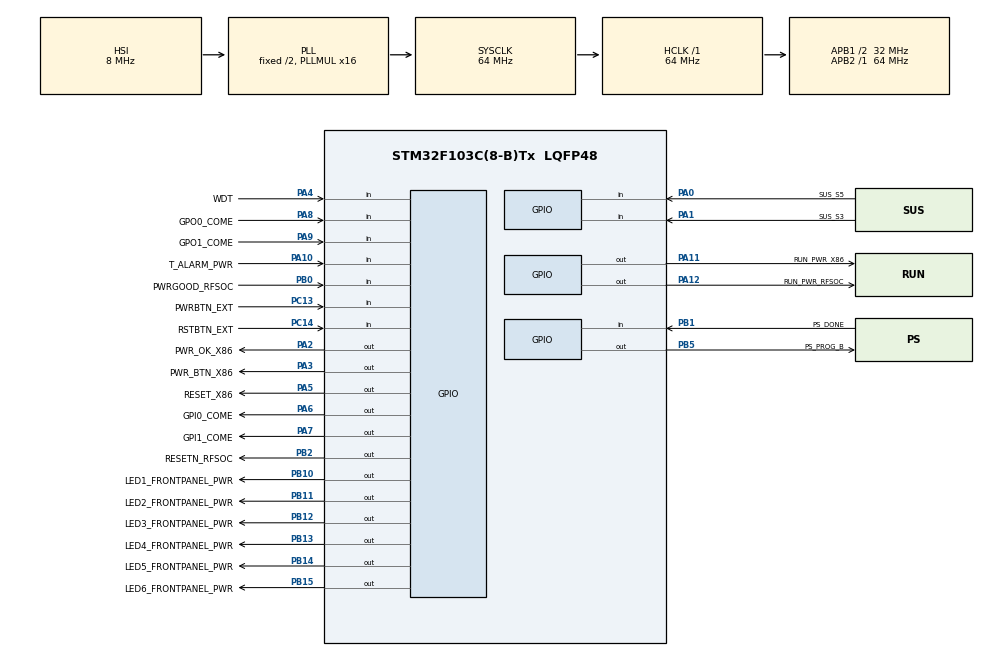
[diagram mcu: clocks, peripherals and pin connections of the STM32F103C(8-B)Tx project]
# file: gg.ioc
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FREERTOS.Tasks01=PowerOnTask,0,128,PowerOnTask_init,Default,NULL,Dynamic,NULL,NULL;KeyMonitorTask,0,128,KeyMonitorTask_init,Default,NULL,Dynamic,NULL,NULL;HardOffTask,0,128,HardOffTask_init,Default,NULL,Dynamic,NULL,NULL;SoftOffTask,0,128,SoftOffTask_init,Default,NULL,Dynamic,NULL,NULL
Mcu.Family=STM32F1
Mcu.Name=STM32F103C(8-B)Tx
Mcu.Package=LQFP48
NVIC.PriorityGroup=NVIC_PRIORITYGROUP_4
NVIC.TIM1_UP_IRQn=true\:15\:0\:false\:false\:true\:false\:false\:true\:true
NVIC.TimeBase=TIM1_UP_IRQn
NVIC.TimeBaseIP=TIM1
PA0-WKUP.GPIO_Label=SUS_S5
PA0-WKUP.Signal=GPIO_Input
PA1.GPIO_Label=SUS_S3
PA1.Signal=GPIO_Input
PA10.GPIO_Label=T_ALARM_PWR
PA10.Signal=GPIO_Input
PA11.GPIO_Label=RUN_PWR_X86
PA11.Signal=GPIO_Output
PA12.GPIO_Label=RUN_PWR_RFSOC
PA12.Signal=GPIO_Output
PA13.Mode=Serial_Wire
PA13.Signal=SYS_JTMS-SWDIO
PA14.Mode=Serial_Wire
PA14.Signal=SYS_JTCK-SWCLK
PA2.GPIO_Label=PWR_OK_X86
PA2.Signal=GPIO_Output
PA3.GPIO_Label=PWR_BTN_X86
PA3.Signal=GPIO_Output
PA4.GPIO_Label=WDT
PA4.Signal=GPIO_Input
PA5.GPIO_Label=RESET_X86
PA5.Signal=GPIO_Output
PA6.GPIO_Label=GPI0_COME
PA6.Signal=GPIO_Output
PA7.GPIO_Label=GPI1_COME
PA7.Signal=GPIO_Output
PA8.GPIO_Label=GPO0_COME
PA8.Signal=GPIO_Input
PA9.GPIO_Label=GPO1_COME
PA9.Signal=GPIO_Input
PB0.GPIO_Label=PWRGOOD_RFSOC
PB0.Signal=GPIO_Input
PB1.GPIO_Label=PS_DONE
PB1.Signal=GPIO_Input
PB10.GPIO_Label=LED1_FRONTPANEL_PWR
PB10.Signal=GPIO_Output
PB11.GPIO_Label=LED2_FRONTPANEL_PWR
PB11.Signal=GPIO_Output
PB12.GPIO_Label=LED3_FRONTPANEL_PWR
PB12.Signal=GPIO_Output
PB13.GPIO_Label=LED4_FRONTPANEL_PWR
PB13.Signal=GPIO_Output
PB14.GPIO_Label=LED5_FRONTPANEL_PWR
PB14.Signal=GPIO_Output
PB15.GPIO_Label=LED6_FRONTPANEL_PWR
PB15.Signal=GPIO_Output
PB2.GPIO_Label=RESETN_RFSOC
PB2.Signal=GPIO_Output
PB5.GPIO_Label=PS_PROG_B
PB5.Signal=GPIO_Output
PC13-TAMPER-RTC.GPIO_Label=PWRBTN_EXT
PC13-TAMPER-RTC.Signal=GPIO_Input
PC14-OSC32_IN.GPIO_Label=RSTBTN_EXT
PC14-OSC32_IN.Signal=GPIO_Input
ProjectManager.HeapSize=0x200
ProjectManager.StackSize=0x400
ProjectManager.TargetToolchain=STM32CubeIDE
RCC.AHBFreq_Value=64000000
RCC.APB1CLKDivider=RCC_HCLK_DIV2
RCC.APB1Freq_Value=32000000
RCC.APB1TimFreq_Value=64000000
RCC.APB2Freq_Value=64000000
RCC.APB2TimFreq_Value=64000000
RCC.HCLKFreq_Value=64000000
RCC.PLLMUL=RCC_PLL_MUL16
RCC.SYSCLKFreq_VALUE=64000000
RCC.SYSCLKSource=RCC_SYSCLKSOURCE_PLLCLK
RCC.USBFreq_Value=64000000
VP_FREERTOS_VS_CMSIS_V1.Mode=CMSIS_V1
VP_SYS_VS_tim1.Mode=TIM1
board=custom

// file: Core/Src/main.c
/* USER CODE BEGIN Header */
/**
  ******************************************************************************
  * @file           : main.c
  * @brief          : Main program body
  ******************************************************************************
  * @attention
  *
  * Copyright (c) 2026 STMicroelectronics.
  * All rights reserved.
  *
  * This software is licensed under terms that can be found in the LICENSE file
  * in the root directory of this software component.
  * If no LICENSE file comes with this software, it is provided AS-IS.
  *
  ******************************************************************************
  */
/* USER CODE END Header */
#include "main.h"
#include "cmsis_os.h"

osThreadId PowerOnTaskHandle;
osThreadId KeyMonitorTaskHandle;
osThreadId HardOffTaskHandle;
osThreadId SoftOffTaskHandle;
/* USER CODE BEGIN PV */
typedef enum
{
    KEY_IDLE = 0,
    KEY_PRESSED
} key_state_t;

typedef struct
{
    key_state_t state;
    uint32_t    press_time;
} key_ctrl_t;

typedef struct
{
    GPIO_PinState last_pin;
    uint32_t      idle_time;
    uint8_t       stable_cnt;
} wdt_ctrl_t;

/* System power state, shared between tasks. Every transition is written
   by the task that owns it. */
typedef enum
{
    PWR_ST_OFF = 0,     /* everything off, waiting for a power-on request */
    PWR_ST_UP,          /* power-up sequence running */
    PWR_ST_ON,          /* up and running */
    PWR_ST_DOWN,        /* power-down sequence running */
    PWR_ST_FAULT        /* power-up sequence failed */
} pwr_state_t;

#define KEY_SCAN_TIME_MS      20

#define PWR_SHORT_MS          100
#define PWR_LONG_MS           4000

#define RST_LONG_MS           1000

#define WDT_TIMEOUT_MS        5000
#define WDT_STABLE_CNT        2

/* Power-down sequencing */
#define PWRBTN_GRACEFUL_MS       300  /* short PWRBTN# pulse: ask the OS to stop */
#define GRACEFUL_STOP_TIMEOUT_MS 20000 /* max wait for the OS to shut down by itself */
#define HARD_OFF_BTN_MS       4000    /* PWRBTN# hold that forces the x86 off */
#define HOST_STOP_TIMEOUT_MS  6000    /* max wait for SUS_S3# after the forced hold */
#define RFSOC_QUIESCE_MS      100     /* let PROG_B settle before cutting power */

#define WAIT_PIN_POLL_MS       10     /* poll period for every pin handshake */
#define FAULT_BLINK_MS        250     /* half period of the FAULT indicator */

/* Handshake timeouts. These are STARTING POINTS, not measured values: each
   one has to be confirmed against the real board before they can be
   trusted. See the notes in the plan for how to measure each of them. */
#define RFSOC_DISCHARGE_MS    10000   /* power-down: PWRGOOD_RFSOC high -> low */
#define PRECOND_TIMEOUT_MS     3000   /* power-up backstop, unclean start only */
#define PSU_SETTLE_MS         10000   /* RUN_PWR_X86 high -> PWRGOOD_RFSOC high */
#define RFSOC_RESET_HOLD_MS     200   /* Zynq PS POR minimum pulse width */
#define RFSOC_BOOT_TIMEOUT_MS 30000   /* RESETN_RFSOC release -> PS_DONE high */
#define HOST_S5_TIMEOUT_MS      500   /* power-up: is the module sitting in S5? */
#define HOST_S0_TIMEOUT_MS    15000   /* PWRBTN# press -> SUS_S3# high */

/* Stage numbers for g_last_fail_step. Watch it in the debugger to find out
   which handshake gave up. */
#define STEP_PRECOND              1
#define STEP_RFSOC_PWRGOOD        2
#define STEP_RFSOC_PSDONE         3
#define STEP_HOST_S5              4
#define STEP_HOST_S0              5

/* Written by whichever task owns the transition, read by SoftOffTask on
   every poll -- volatile because the Release build compiles with -Os. */
volatile pwr_state_t g_pwr_state = PWR_ST_OFF;
volatile uint8_t is_wdt_detect_enabled = 0;

/* Set when a power-down could not confirm that the RFSoC rail had
   discharged. The next power-up then checks the preconditions instead of
   trusting that the handshake signals start from their inactive level. */
volatile uint8_t g_pwr_unclean = 0;
volatile uint8_t g_last_fail_step = 0;
/* USER CODE END PV */

void SystemClock_Config(void);
static void MX_GPIO_Init(void);
void PowerOnTask_init(void const * argument);
void KeyMonitorTask_init(void const * argument);
void HardOffTask_init(void const * argument);
void SoftOffTask_init(void const * argument);

/* USER CODE BEGIN PFP */

static uint8_t wait_pin_level(GPIO_TypeDef *port, uint16_t pin,
                              GPIO_PinState want, uint32_t timeout_ms);
static uint8_t wait_pin_high(GPIO_TypeDef *port, uint16_t pin, uint32_t timeout_ms);
static uint8_t wait_pin_low(GPIO_TypeDef *port, uint16_t pin, uint32_t timeout_ms);

/* USER CODE END PFP */

/* USER CODE BEGIN 0 */

/**
  * @brief  Poll a pin until it reaches a level, giving up after a timeout.
  * @retval 1 = the level was reached, 0 = timed out.
  *
  * A timed-out handshake is never something to spin on: the caller decides
  * what a timeout means. The RFSoC-side stages treat it as a fault and stop
  * the sequence; the two SUS_S3# checks only record it, because whether that
  * signal is readable on this board has not been measured yet.
  */
static uint8_t wait_pin_level(GPIO_TypeDef *port, uint16_t pin,
                              GPIO_PinState want, uint32_t timeout_ms)
{
	uint32_t waited = 0;

	while (HAL_GPIO_ReadPin(port, pin) != want)
	{
		if (waited >= timeout_ms)
		{
			return 0;
		}
		osDelay(WAIT_PIN_POLL_MS);
		waited += WAIT_PIN_POLL_MS;
	}
	return 1;
}

static uint8_t wait_pin_high(GPIO_TypeDef *port, uint16_t pin, uint32_t timeout_ms)
{
	return wait_pin_level(port, pin, GPIO_PIN_SET, timeout_ms);
}

static uint8_t wait_pin_low(GPIO_TypeDef *port, uint16_t pin, uint32_t timeout_ms)
{
	return wait_pin_level(port, pin, GPIO_PIN_RESET, timeout_ms);
}

/* USER CODE END 0 */

int main(void)
{

  /* MCU Configuration--------------------------------------------------------*/

  /* Reset of all peripherals, Initializes the Flash interface and the Systick. */
  HAL_Init();

  /* Configure the system clock */
  SystemClock_Config();

  /* Initialize all configured peripherals */
  MX_GPIO_Init();

  /* Create the thread(s) */
  /* definition and creation of PowerOnTask */
  osThreadDef(PowerOnTask, PowerOnTask_init, osPriorityNormal, 0, 128);
  PowerOnTaskHandle = osThreadCreate(osThread(PowerOnTask), NULL);

  /* definition and creation of KeyMonitorTask */
  osThreadDef(KeyMonitorTask, KeyMonitorTask_init, osPriorityNormal, 0, 128);
  KeyMonitorTaskHandle = osThreadCreate(osThread(KeyMonitorTask), NULL);

  /* definition and creation of HardOffTask */
  osThreadDef(HardOffTask, HardOffTask_init, osPriorityNormal, 0, 128);
  HardOffTaskHandle = osThreadCreate(osThread(HardOffTask), NULL);

  /* definition and creation of SoftOffTask */
  osThreadDef(SoftOffTask, SoftOffTask_init, osPriorityNormal, 0, 128);
  SoftOffTaskHandle = osThreadCreate(osThread(SoftOffTask), NULL);

  /* Start scheduler */
  osKernelStart();

  /* We should never get here as control is now taken by the scheduler */

  /* Infinite loop */
  while (1)
  {

  }
}

void SystemClock_Config(void)
{
  RCC_OscInitTypeDef RCC_OscInitStruct = {0};
  RCC_ClkInitTypeDef RCC_ClkInitStruct = {0};

  /** Initializes the RCC Oscillators according to the specified parameters
  * in the RCC_OscInitTypeDef structure.
  */
  RCC_OscInitStruct.OscillatorType = RCC_OSCILLATORTYPE_HSI;
  RCC_OscInitStruct.HSIState = RCC_HSI_ON;
  RCC_OscInitStruct.HSICalibrationValue = RCC_HSICALIBRATION_DEFAULT;
  RCC_OscInitStruct.PLL.PLLState = RCC_PLL_ON;
  RCC_OscInitStruct.PLL.PLLSource = RCC_PLLSOURCE_HSI_DIV2;
  RCC_OscInitStruct.PLL.PLLMUL = RCC_PLL_MUL16;
  if (HAL_RCC_OscConfig(&RCC_OscInitStruct) != HAL_OK)
  {
    Error_Handler();
  }

  /** Initializes the CPU, AHB and APB buses clocks
  */
  RCC_ClkInitStruct.ClockType = RCC_CLOCKTYPE_HCLK|RCC_CLOCKTYPE_SYSCLK
                              |RCC_CLOCKTYPE_PCLK1|RCC_CLOCKTYPE_PCLK2;
  RCC_ClkInitStruct.SYSCLKSource = RCC_SYSCLKSOURCE_PLLCLK;
  RCC_ClkInitStruct.AHBCLKDivider = RCC_SYSCLK_DIV1;
  RCC_ClkInitStruct.APB1CLKDivider = RCC_HCLK_DIV2;
  RCC_ClkInitStruct.APB2CLKDivider = RCC_HCLK_DIV1;

  if (HAL_RCC_ClockConfig(&RCC_ClkInitStruct, FLASH_LATENCY_2) != HAL_OK)
  {
    Error_Handler();
  }
}

static void MX_GPIO_Init(void)
{
  GPIO_InitTypeDef GPIO_InitStruct = {0};

  /* GPIO Ports Clock Enable */
  __HAL_RCC_GPIOC_CLK_ENABLE();
  __HAL_RCC_GPIOA_CLK_ENABLE();
  __HAL_RCC_GPIOB_CLK_ENABLE();

   /* Active low signals */
  HAL_GPIO_WritePin(PS_PROG_B_GPIO_Port, PS_PROG_B_Pin, GPIO_PIN_SET);
  HAL_GPIO_WritePin(PWR_BTN_X86_GPIO_Port, PWR_BTN_X86_Pin, GPIO_PIN_SET);

  /*Configure GPIO pin Output Level */
  HAL_GPIO_WritePin(GPIOA, PWR_OK_X86_Pin|RESET_X86_Pin|GPI0_COME_Pin
                          |GPI1_COME_Pin|RUN_PWR_X86_Pin|RUN_PWR_RFSOC_Pin, GPIO_PIN_RESET);

  /*Configure GPIO pin Output Level */
  HAL_GPIO_WritePin(GPIOB, RESETN_RFSOC_Pin|LED1_FRONTPANEL_PWR_Pin|LED2_FRONTPANEL_PWR_Pin|LED3_FRONTPANEL_PWR_Pin
                          |LED4_FRONTPANEL_PWR_Pin|LED5_FRONTPANEL_PWR_Pin|LED6_FRONTPANEL_PWR_Pin, GPIO_PIN_RESET);

  /*Configure GPIO pins : PWRBTN_EXT_Pin RSTBTN_EXT_Pin */
  GPIO_InitStruct.Pin = PWRBTN_EXT_Pin|RSTBTN_EXT_Pin;
  GPIO_InitStruct.Mode = GPIO_MODE_INPUT;
  GPIO_InitStruct.Pull = GPIO_NOPULL;
  HAL_GPIO_Init(GPIOC, &GPIO_InitStruct);

  /*Configure GPIO pins : SUS_S5_Pin SUS_S3_Pin WDT_Pin GPO0_COME_Pin
                           GPO1_COME_Pin T_ALARM_PWR_Pin */
  GPIO_InitStruct.Pin = SUS_S5_Pin|SUS_S3_Pin|WDT_Pin|GPO0_COME_Pin
                          |GPO1_COME_Pin|T_ALARM_PWR_Pin;
  GPIO_InitStruct.Mode = GPIO_MODE_INPUT;
  GPIO_InitStruct.Pull = GPIO_NOPULL;
  HAL_GPIO_Init(GPIOA, &GPIO_InitStruct);

  /*Configure GPIO pins : PWR_OK_X86_Pin PWR_BTN_X86_Pin RESET_X86_Pin GPI0_COME_Pin
                           GPI1_COME_Pin RUN_PWR_X86_Pin RUN_PWR_RFSOC_Pin */
  GPIO_InitStruct.Pin = PWR_OK_X86_Pin|PWR_BTN_X86_Pin|RESET_X86_Pin|GPI0_COME_Pin
                          |GPI1_COME_Pin|RUN_PWR_X86_Pin|RUN_PWR_RFSOC_Pin;
  GPIO_InitStruct.Mode = GPIO_MODE_OUTPUT_PP;
  GPIO_InitStruct.Pull = GPIO_NOPULL;
  GPIO_InitStruct.Speed = GPIO_SPEED_FREQ_LOW;
  HAL_GPIO_Init(GPIOA, &GPIO_InitStruct);

  /*Configure GPIO pins : PWRGOOD_RFSOC_Pin PS_DONE_Pin */
  GPIO_InitStruct.Pin = PWRGOOD_RFSOC_Pin|PS_DONE_Pin;
  GPIO_InitStruct.Mode = GPIO_MODE_INPUT;
  GPIO_InitStruct.Pull = GPIO_NOPULL;
  HAL_GPIO_Init(GPIOB, &GPIO_InitStruct);

  /*Configure GPIO pins : RESETN_RFSOC_Pin LED1_FRONTPANEL_PWR_Pin LED2_FRONTPANEL_PWR_Pin LED3_FRONTPANEL_PWR_Pin
                           LED4_FRONTPANEL_PWR_Pin LED5_FRONTPANEL_PWR_Pin LED6_FRONTPANEL_PWR_Pin PS_PROG_B_Pin */
  GPIO_InitStruct.Pin = RESETN_RFSOC_Pin|LED1_FRONTPANEL_PWR_Pin|LED2_FRONTPANEL_PWR_Pin|LED3_FRONTPANEL_PWR_Pin
                          |LED4_FRONTPANEL_PWR_Pin|LED5_FRONTPANEL_PWR_Pin|LED6_FRONTPANEL_PWR_Pin|PS_PROG_B_Pin;
  GPIO_InitStruct.Mode = GPIO_MODE_OUTPUT_PP;
  GPIO_InitStruct.Pull = GPIO_NOPULL;
  GPIO_InitStruct.Speed = GPIO_SPEED_FREQ_LOW;
  HAL_GPIO_Init(GPIOB, &GPIO_InitStruct);

}

/* USER CODE BEGIN 4 */
/* USER CODE BEGIN Header_KeyMonitorTask_init */
void KeyMonitorTask_init(void const *argument)
{
    key_ctrl_t pwr_key = {KEY_IDLE, 0};
    key_ctrl_t rst_key = {KEY_IDLE, 0};

    wdt_ctrl_t wdt = {
        .last_pin   = GPIO_PIN_RESET,
        .idle_time  = 0,
        .stable_cnt = 0
    };

    for (;;)
    {
        /* ===================== PWR BTN ===================== */
        if (HAL_GPIO_ReadPin(RSTBTN_EXT_GPIO_Port, RSTBTN_EXT_Pin) == GPIO_PIN_RESET)
        {
            if (pwr_key.state == KEY_IDLE)
            {
                pwr_key.state = KEY_PRESSED;
                pwr_key.press_time = 0;
            }
            else
            {
                pwr_key.press_time += KEY_SCAN_TIME_MS;
            }
        }
        else
        {
            if (pwr_key.state == KEY_PRESSED)
            {
                if (pwr_key.press_time >= PWR_LONG_MS)
                    osSignalSet(HardOffTaskHandle, 0x03);
                else if (pwr_key.press_time >= PWR_SHORT_MS)
                    osSignalSet(PowerOnTaskHandle, 0x01);

                pwr_key.state = KEY_IDLE;
                pwr_key.press_time = 0;
            }
        }

        /* ===================== RST BTN ===================== */
        if (HAL_GPIO_ReadPin(PWRBTN_EXT_GPIO_Port, PWRBTN_EXT_Pin) == GPIO_PIN_RESET)
        {
            if (rst_key.state == KEY_IDLE)
            {
                rst_key.state = KEY_PRESSED;
                rst_key.press_time = 0;
            }
            else
            {
                rst_key.press_time += KEY_SCAN_TIME_MS;
            }
        }
        else
        {
            if (rst_key.state == KEY_PRESSED)
            {
                if (rst_key.press_time >= RST_LONG_MS)
                {
//                    /* Reset PS */
//                    HAL_GPIO_WritePin(PS_PROG_B_GPIO_Port, PS_PROG_B_Pin, GPIO_PIN_RESET);
//                    osDelay(50);
//                    HAL_GPIO_WritePin(PS_PROG_B_GPIO_Port, PS_PROG_B_Pin, GPIO_PIN_SET);

                    /* Reset X86 */
                    HAL_GPIO_WritePin(GPIOA, RESET_X86_Pin, GPIO_PIN_RESET);
                    osDelay(50);
                    HAL_GPIO_WritePin(GPIOA, RESET_X86_Pin, GPIO_PIN_SET);
                }

                rst_key.state = KEY_IDLE;
                rst_key.press_time = 0;
            }
        }

//        /* ===================== WDT PIN MONITOR ===================== */
//        GPIO_PinState cur_wdt = HAL_GPIO_ReadPin(WDT_GPIO_Port, WDT_Pin);
//        if(is_wdt_detect_enabled)
//        {
//          if (cur_wdt != wdt.last_pin)
//          {
//            wdt.stable_cnt++;
//            if (wdt.stable_cnt >= WDT_STABLE_CNT)
//            {
//                /* Dog is feed */
//                wdt.last_pin  = cur_wdt;
//                wdt.idle_time = 0;
//                wdt.stable_cnt = 0;
//            }
//          }
//          else
//          {
//            wdt.stable_cnt = 0;
//            wdt.idle_time += KEY_SCAN_TIME_MS;
//
//            if (wdt.idle_time >= WDT_TIMEOUT_MS)
//            {
//                /* Watch dog time out, Reset X86 */
//                HAL_GPIO_WritePin(GPIOA, RESET_X86_Pin, GPIO_PIN_RESET);
//                osDelay(50);
//                HAL_GPIO_WritePin(GPIOA, RESET_X86_Pin, GPIO_PIN_SET);
//
//                /* Clear WDT idle time */
//                wdt.idle_time = 0;
//            }
//          }
//        }
//        else
//        {
//            wdt.last_pin = GPIO_PIN_RESET;
//            wdt.idle_time = 0;
//            wdt.stable_cnt = 0;
//        }
        osDelay(KEY_SCAN_TIME_MS);
    }
}
/* USER CODE END Header_KeyMonitorTask_init */
void PowerOnTask_init(void const * argument)
{
  /* USER CODE BEGIN PowerOnTask_init */
  uint32_t PL_INITIALIZATION_TIME = 30000;
  uint32_t BTN_PRESS_TIME = 1000;
  //uint32_t WAIT_EXTERNAL_POWER_ON = 5000;
  uint32_t WAIT_SYS_START = 10000;
  uint8_t fault_blink = 0;
  /* Infinite loop */
  for(;;)
  {
	  osEvent evt;
	  uint32_t wait_ms;

	  /* In FAULT the wait is finite so the panel LED can blink the fault
	     code; the rest of the time block until a key event arrives. */
	  wait_ms = (g_pwr_state == PWR_ST_FAULT) ? FAULT_BLINK_MS : osWaitForever;
	  evt = osSignalWait(0x01, wait_ms);

	  if (g_pwr_state == PWR_ST_FAULT)
	  {
		  fault_blink ^= 1;
		  HAL_GPIO_WritePin(GPIOB, LED4_FRONTPANEL_PWR_Pin,
		                    fault_blink ? GPIO_PIN_SET : GPIO_PIN_RESET);
	  }

	  if (evt.status == osEventSignal)
	  {
		  /* Only a fully powered-off system may be powered up again. A short
		     press while up / powering up / powering down is dropped: without
		     this guard the whole sequence re-runs on a live system, and the
		     1s PWRBTN# pulse further down shuts the running x86 down. */
		  if (g_pwr_state == PWR_ST_ON ||
		      g_pwr_state == PWR_ST_UP ||
		      g_pwr_state == PWR_ST_DOWN)
		  {
			  continue;
		  }

		  g_last_fail_step = 0;
		  HAL_GPIO_WritePin(GPIOB, LED4_FRONTPANEL_PWR_Pin, GPIO_PIN_RESET);
		  g_pwr_state = PWR_ST_UP;

		  /* The first step is not "apply power", it is "hold every
		     downstream device in reset", so nothing comes up half
		     configured while the rails are still ramping. */
		  HAL_GPIO_WritePin(GPIOA, RESET_X86_Pin, GPIO_PIN_RESET);
		  HAL_GPIO_WritePin(GPIOA, PWR_OK_X86_Pin, GPIO_PIN_RESET);
		  HAL_GPIO_WritePin(PS_PROG_B_GPIO_Port, PS_PROG_B_Pin, GPIO_PIN_RESET);
		  HAL_GPIO_WritePin(RESETN_RFSOC_GPIO_Port, RESETN_RFSOC_Pin, GPIO_PIN_RESET);

		  /* Backstop for a power-down that could not confirm the rails had
		     discharged. Normally g_pwr_unclean is 0 and this costs nothing:
		     the power-down paths already waited the discharge out while
		     nobody was watching. Only when that failed do we refuse to
		     trust the handshake signals here. */
		  if (g_pwr_unclean != 0)
		  {
			  if (wait_pin_low(PWRGOOD_RFSOC_GPIO_Port, PWRGOOD_RFSOC_Pin, PRECOND_TIMEOUT_MS) == 0 ||
			      wait_pin_low(PS_DONE_GPIO_Port, PS_DONE_Pin, PRECOND_TIMEOUT_MS) == 0)
			  {
				  g_last_fail_step = STEP_PRECOND;
				  goto power_fail;
			  }
			  g_pwr_unclean = 0;
		  }

		  /* Enable External Power Supply */
		  HAL_GPIO_WritePin(GPIOA, RUN_PWR_X86_Pin, GPIO_PIN_SET);

	  	  /* Entering RFSOC Power up sequence */
	  	  /* Power RFSOC */
	  	  HAL_GPIO_WritePin(RUN_PWR_RFSOC_GPIO_Port, RUN_PWR_RFSOC_Pin, GPIO_PIN_SET);

	  	  /* Wait until RFSOC Power good. This doubles as the PSU ramp wait:
	  	     RUN_PWR_X86 was raised two writes ago with nothing in between,
	  	     so a cold start relies on this loop to cover the ramp. It is
	  	     trustworthy here because the rail is guaranteed to have been
	  	     left discharged -- see g_pwr_unclean above. */
	  	  if (wait_pin_high(PWRGOOD_RFSOC_GPIO_Port, PWRGOOD_RFSOC_Pin, PSU_SETTLE_MS) == 0)
	  	  {
	  		  g_last_fail_step = STEP_RFSOC_PWRGOOD;
	  		  goto power_fail;
	  	  }

	  	  /* RFSOC Power good */
	  	  HAL_GPIO_WritePin(GPIOB, LED1_FRONTPANEL_PWR_Pin, GPIO_PIN_SET);

	  	  /* Hold the reset for a known minimum before releasing it. This is
	  	     what turns "release the reset and hope" into a deterministic
	  	     POR pulse, so that PS_DONE going high below is a real 0->1 edge
	  	     rather than a level that was left over from the last session. */
	  	  osDelay(RFSOC_RESET_HOLD_MS);

	  	  /* Release PROG_B first. The power-down sequences assert it to
	  	     clear the PL, so it has to be de-asserted before the reset is
	  	     released or the PL stays unconfigured. */
	  	  HAL_GPIO_WritePin(PS_PROG_B_GPIO_Port, PS_PROG_B_Pin, GPIO_PIN_SET);

	  	  /* Release RFSOC Reset to enable Power On Reset*/
	  	  HAL_GPIO_WritePin(RESETN_RFSOC_GPIO_Port, RESETN_RFSOC_Pin, GPIO_PIN_SET);

	  	  /* Wait until PS Done */
	  	  if (wait_pin_high(PS_DONE_GPIO_Port, PS_DONE_Pin, RFSOC_BOOT_TIMEOUT_MS) == 0)
	  	  {
	  		  g_last_fail_step = STEP_RFSOC_PSDONE;
	  		  goto power_fail;
	  	  }

	  	  /* When PS DONE, Turn on LED 6 */
	  	  HAL_GPIO_WritePin(GPIOB, LED6_FRONTPANEL_PWR_Pin, GPIO_PIN_SET);

	  	  /* Wait PL initialization */
//	  	  osDelay(PL_INITIALIZATION_TIME);

	  	  /* Entering X86 Power up sequence */
	  	  /* The module has to be in S5 before the button is pressed. Without
	  	     this, a SUS_S3# left high by the previous session makes the
	  	     wait below pass instantly and PWR_OK_X86 gets asserted before
	  	     the module is actually up. */
	  	  if (wait_pin_low(GPIOA, SUS_S3_Pin, HOST_S5_TIMEOUT_MS) == 0)
	  	  {
	  		  /* Warning only, deliberately not fatal. If SUS_S3# cannot be
	  		     read at all on this board -- GPIO_NOPULL on a net whose
	  		     driver is unpowered -- then failing here would break the
	  		     cold boot that works today. Record the stage and carry on
	  		     the way the old code did; watch g_last_fail_step to find
	  		     out which of the two it actually is. */
	  		  g_last_fail_step = STEP_HOST_S5;
	  	  }

	  	  /* Push X86 Power Button for 1s*/
	  	  HAL_GPIO_WritePin(GPIOA, PWR_BTN_X86_Pin, GPIO_PIN_RESET);
	  	  osDelay(BTN_PRESS_TIME);
	  	  HAL_GPIO_WritePin(GPIOA, PWR_BTN_X86_Pin, GPIO_PIN_SET);

	  	  /* Wait until SUS_S3_Pin is released */
	  	  if (wait_pin_high(GPIOA, SUS_S3_Pin, HOST_S0_TIMEOUT_MS) == 0)
	  	  {
	  		  /* Warning only, same reasoning as the S5 check above. The x86
	  		     side is the one that does not lock the system out today, so
	  		     it keeps that behaviour until the signal is measured. */
	  		  g_last_fail_step = STEP_HOST_S0;
	  	  }

	  	  /* Send Power OK Signal to X86 */
	  	  HAL_GPIO_WritePin(GPIOA, PWR_OK_X86_Pin, GPIO_PIN_SET);

	  	  /* X86 BIOS Starts */
	  	  HAL_GPIO_WritePin(GPIOB, LED3_FRONTPANEL_PWR_Pin, GPIO_PIN_SET);

//	  	  HAL_GPIO_WritePin(GPIOA, PWR_BTN_X86_Pin, GPIO_PIN_RESET);
//	  	  osDelay(30000);
//	  	  HAL_GPIO_WritePin(GPIOA, PWR_BTN_X86_Pin, GPIO_PIN_SET);

//	      /* Reset X86  */
//	  	  HAL_GPIO_WritePin(GPIOA, RESET_X86_Pin, GPIO_PIN_SET);
//	  	  osDelay(50);
//	      HAL_GPIO_WritePin(GPIOA, RESET_X86_Pin, GPIO_PIN_RESET);

	  	  /* X86 is up: allow soft-off detection */
	  	  g_pwr_state = PWR_ST_ON;

		  /* Wait X86 System Boots */
          osDelay(WAIT_SYS_START);

          /* Enable WDT detection */
          is_wdt_detect_enabled = 1;
		  continue;
	  }

	  continue;

power_fail:
	  /* A power-up stage was not reached in time. Do NOT leave the system
	     half powered: an x86 that POSTs against a PL that never got
	     configured is exactly the "screen comes up, then it hangs"
	     failure this sequence has to avoid. Cut everything and park in
	     FAULT with the front panel LED off; the next press retries. */
	  HAL_GPIO_WritePin(GPIOA, PWR_OK_X86_Pin, GPIO_PIN_RESET);
	  HAL_GPIO_WritePin(GPIOA, RESET_X86_Pin, GPIO_PIN_RESET);
	  HAL_GPIO_WritePin(GPIOA, RUN_PWR_X86_Pin, GPIO_PIN_RESET);
	  HAL_GPIO_WritePin(PS_PROG_B_GPIO_Port, PS_PROG_B_Pin, GPIO_PIN_RESET);
	  HAL_GPIO_WritePin(RESETN_RFSOC_GPIO_Port, RESETN_RFSOC_Pin, GPIO_PIN_RESET);
	  HAL_GPIO_WritePin(RUN_PWR_RFSOC_GPIO_Port, RUN_PWR_RFSOC_Pin, GPIO_PIN_RESET);

	  HAL_GPIO_WritePin(GPIOB, LED1_FRONTPANEL_PWR_Pin, GPIO_PIN_RESET);
	  HAL_GPIO_WritePin(GPIOB, LED3_FRONTPANEL_PWR_Pin, GPIO_PIN_RESET);
	  HAL_GPIO_WritePin(GPIOB, LED6_FRONTPANEL_PWR_Pin, GPIO_PIN_RESET);

	  is_wdt_detect_enabled = 0;
	  g_pwr_state = PWR_ST_FAULT;
  }
}
void HardOffTask_init(void const * argument)
{
	/* USER CODE BEGIN PowerDownTask_init */
	/* Infinite loop */
	for(;;)
	{
		osEvent evt = osSignalWait(0x03, osWaitForever);
		if (evt.status == osEventSignal)
		{
			/* Power-up order is RFSOC then X86, so power-down has to be the
			   reverse: the x86 stops first, and the RFSOC -- which is the
			   x86's PCIe endpoint -- is the last thing to lose power. */
			g_pwr_state = PWR_ST_DOWN;
			is_wdt_detect_enabled = 0;

			/* Ask the x86 to shut down the polite way first. A short PWRBTN#
			   pulse is a normal power-button event, and the OS answers it with
			   a clean shutdown. Holding the button instead crosses the ATX
			   forced-off threshold (>= 4s), which cuts the rail while the OS is
			   still shutting down -- a guaranteed unclean stop, and that is what
			   leaves the next boot hanging at the desktop.
			   The RFSOC must stay alive for the whole of this, otherwise the x86
			   is left running with an already dead PCIe endpoint. */
			HAL_GPIO_WritePin(GPIOA, PWR_BTN_X86_Pin, GPIO_PIN_RESET);
			osDelay(PWRBTN_GRACEFUL_MS);
			HAL_GPIO_WritePin(GPIOA, PWR_BTN_X86_Pin, GPIO_PIN_SET);

			/* SUS_S3# dropping is the module telling us it is in S5, i.e. the
			   OS finished shutting down on its own. */
			if (wait_pin_low(SUS_S3_GPIO_Port, SUS_S3_Pin, GRACEFUL_STOP_TIMEOUT_MS) == 0)
			{
				   /* No answer: the OS is hung. Only now fall back to the 4s hold,
				      which is the ATX override that cuts the power whatever the OS
				      is doing. */
				HAL_GPIO_WritePin(GPIOA, PWR_BTN_X86_Pin, GPIO_PIN_RESET);
				osDelay(HARD_OFF_BTN_MS);
				HAL_GPIO_WritePin(GPIOA, PWR_BTN_X86_Pin, GPIO_PIN_SET);

				/* Wait until X86 is ready to be shut down, active low */
				wait_pin_low(SUS_S3_GPIO_Port, SUS_S3_Pin, HOST_STOP_TIMEOUT_MS);
			}

			/* Hold the x86 in reset as well: if it did not stop within the
			   timeout above, this at least stops it issuing PCIe traffic. */
			HAL_GPIO_WritePin(GPIOA, RESET_X86_Pin, GPIO_PIN_RESET);

			/* Only now let the PCIe endpoint disappear. Clear the PL first
			   (PROG_B is active low) so the link goes down cleanly and the GT
			   lanes are tri-stated, then cut its power. */
			HAL_GPIO_WritePin(RESETN_RFSOC_GPIO_Port, RESETN_RFSOC_Pin, GPIO_PIN_RESET);
			HAL_GPIO_WritePin(PS_PROG_B_GPIO_Port, PS_PROG_B_Pin, GPIO_PIN_RESET);
			osDelay(RFSOC_QUIESCE_MS);
			HAL_GPIO_WritePin(RUN_PWR_RFSOC_GPIO_Port, RUN_PWR_RFSOC_Pin, GPIO_PIN_RESET);

			/* Disable X86 PWR OK, then cut external power supply */
			HAL_GPIO_WritePin(GPIOA, PWR_OK_X86_Pin, GPIO_PIN_RESET);
			HAL_GPIO_WritePin(RUN_PWR_X86_GPIO_Port, RUN_PWR_X86_Pin, GPIO_PIN_RESET);

			/* Disable LED panel lights*/
			HAL_GPIO_WritePin(GPIOB, LED1_FRONTPANEL_PWR_Pin, GPIO_PIN_RESET);
			HAL_GPIO_WritePin(GPIOB, LED2_FRONTPANEL_PWR_Pin, GPIO_PIN_RESET);
			HAL_GPIO_WritePin(GPIOB, LED3_FRONTPANEL_PWR_Pin, GPIO_PIN_RESET);
			HAL_GPIO_WritePin(GPIOB, LED6_FRONTPANEL_PWR_Pin, GPIO_PIN_RESET);

			/* Now wait for the rail to actually collapse before calling it
			   OFF. This wait is free -- the machine is already off and
			   nobody is waiting on it -- and it is what lets the next
			   power-up trust that PWRGOOD_RFSOC starts from low. If the rail
			   does not collapse we remember it and the next power-up checks
			   the preconditions instead of trusting the signal. */
			if (wait_pin_low(PWRGOOD_RFSOC_GPIO_Port, PWRGOOD_RFSOC_Pin, RFSOC_DISCHARGE_MS) == 0)
			{
				g_pwr_unclean = 1;
			}

			g_pwr_state = PWR_ST_OFF;

		}
	}
	/* USER CODE END PowerDownTask_init */
}
void SoftOffTask_init(void const * argument)
{
	/* USER CODE BEGIN WaitSoftOffTask_init */
	/* Infinite loop */
	for(;;)
	{
		/* Wait for X86 Soft off signal, active low */
		if(g_pwr_state == PWR_ST_ON && HAL_GPIO_ReadPin(SUS_S3_GPIO_Port, SUS_S3_Pin) == GPIO_PIN_RESET)
		{
			g_pwr_state = PWR_ST_DOWN;
			is_wdt_detect_enabled = 0;

			/* The x86 has already stopped on its own. Mirror the power-up
			   order as in HardOffTask: stop the x86, clear the PL, cut the
			   RFSOC, then cut the x86. */
			HAL_GPIO_WritePin(GPIOA, RESET_X86_Pin, GPIO_PIN_RESET);
			HAL_GPIO_WritePin(GPIOA, PWR_OK_X86_Pin, GPIO_PIN_RESET);

			HAL_GPIO_WritePin(RESETN_RFSOC_GPIO_Port, RESETN_RFSOC_Pin, GPIO_PIN_RESET);
			HAL_GPIO_WritePin(PS_PROG_B_GPIO_Port, PS_PROG_B_Pin, GPIO_PIN_RESET);
			osDelay(RFSOC_QUIESCE_MS);
			HAL_GPIO_WritePin(RUN_PWR_RFSOC_GPIO_Port, RUN_PWR_RFSOC_Pin, GPIO_PIN_RESET);

			HAL_GPIO_WritePin(RUN_PWR_X86_GPIO_Port, RUN_PWR_X86_Pin, GPIO_PIN_RESET);

			/* Cut LED panel lights*/
			HAL_GPIO_WritePin(GPIOB, LED1_FRONTPANEL_PWR_Pin, GPIO_PIN_RESET);
			HAL_GPIO_WritePin(GPIOB, LED2_FRONTPANEL_PWR_Pin, GPIO_PIN_RESET);
			HAL_GPIO_WritePin(GPIOB, LED3_FRONTPANEL_PWR_Pin, GPIO_PIN_RESET);
			HAL_GPIO_WritePin(GPIOB, LED6_FRONTPANEL_PWR_Pin, GPIO_PIN_RESET);

			/* Same discharge wait as in HardOffTask: see the comment there. */
			if (wait_pin_low(PWRGOOD_RFSOC_GPIO_Port, PWRGOOD_RFSOC_Pin, RFSOC_DISCHARGE_MS) == 0)
			{
				g_pwr_unclean = 1;
			}

			g_pwr_state = PWR_ST_OFF;
		}
		osDelay(100);
	}
	/* USER CODE END WaitSoftOffTask_init */
}

void HAL_TIM_PeriodElapsedCallback(TIM_HandleTypeDef *htim)
{
  if (htim->Instance == TIM1)
  {
    HAL_IncTick();
  }
}

void Error_Handler(void)
{
  __disable_irq();
  while (1)
  {
  }
}
